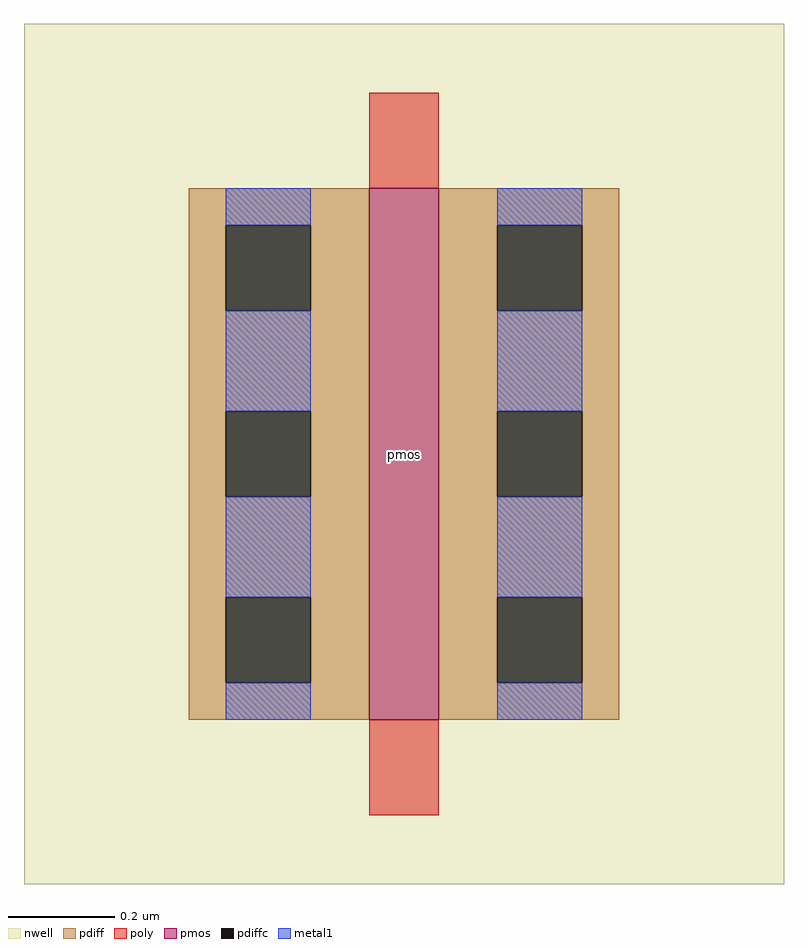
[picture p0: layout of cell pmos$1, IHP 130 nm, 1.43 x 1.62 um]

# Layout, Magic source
magic
tech ihp-sg13g2
magscale 1 2
<< nwell >>
rect -62 -62 224 262
<< pmos >>
rect 68 0 94 200
<< pdiff >>
rect 0 186 68 200
rect 0 154 14 186
rect 46 154 68 186
rect 0 116 68 154
rect 0 84 14 116
rect 46 84 68 116
rect 0 46 68 84
rect 0 14 14 46
rect 46 14 68 46
rect 0 0 68 14
rect 94 186 162 200
rect 94 154 116 186
rect 148 154 162 186
rect 94 116 162 154
rect 94 84 116 116
rect 148 84 162 116
rect 94 46 162 84
rect 94 14 116 46
rect 148 14 162 46
rect 94 0 162 14
<< pdiffc >>
rect 14 154 46 186
rect 14 84 46 116
rect 14 14 46 46
rect 116 154 148 186
rect 116 84 148 116
rect 116 14 148 46
<< poly >>
rect 68 200 94 236
rect 68 -36 94 0
<< metal1 >>
rect 14 186 46 200
rect 14 116 46 154
rect 14 46 46 84
rect 14 0 46 14
rect 116 186 148 200
rect 116 116 148 154
rect 116 46 148 84
rect 116 0 148 14
<< labels >>
flabel comment s 81 100 81 100 0 FreeSans 200 90 0 0 pmos
<< end >>
